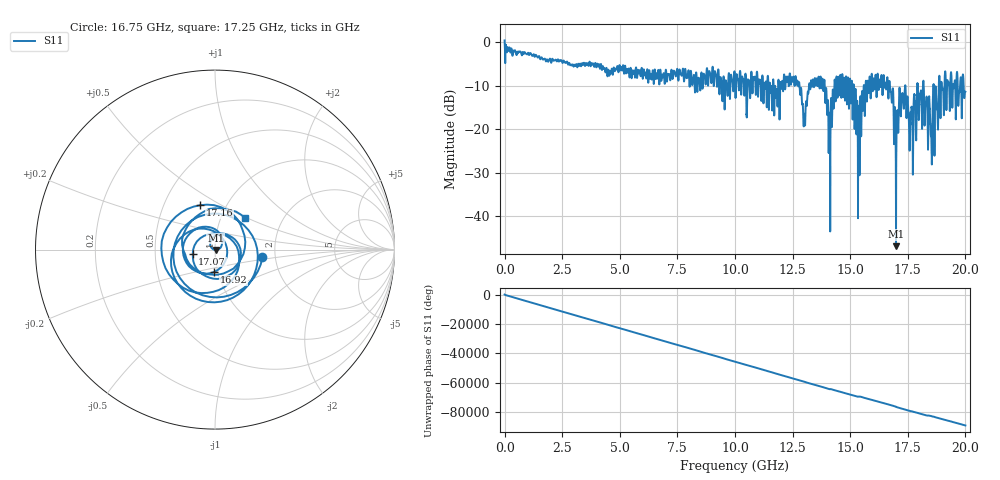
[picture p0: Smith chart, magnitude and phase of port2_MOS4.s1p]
! MS46122B
! 2250307/22442219
! 7/27/2025 9:17:09 AM
! C:\USERS\SPARKY\DOCUMENTS\VNA_DATA\JULY27_2025\3K\PORT2_MOS4.S1P
! CHANNEL.1
! TR.MEASUREMENT
! RAW.DATA
# GHZ S RI R 50.0
! FREQ.GHZ  S11RE  S11IM
!; PortSelection: Port_1
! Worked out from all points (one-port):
!   10001 points, 1 MHz to 20 GHz, reference 50 ohm
!   lowest |S11| = -47.0 dB at 16.99 GHz (marker M1), VSWR 1.01, Z = 50.4 - j0.213 ohm
!   |S11| at or under -10 dB: 15.16 GHz to 15.59 GHz (428.9 MHz wide, 2.79 % of centre); 16.73 GHz to 17.39 GHz (660.8 MHz wide, 3.87 % of centre); 17.39 GHz to 17.91 GHz (515.9 MHz wide, 2.92 % of centre) (the widest 3 of 84)
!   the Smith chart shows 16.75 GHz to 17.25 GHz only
!   S11 on the Smith chart (normalised r, x): 16.75 GHz: 1.71, -0.16; 16.92 GHz: 0.96, -0.24; 17.07 GHz: 0.78, -0.04; 17.16 GHz: 0.76, +0.40; 17.25 GHz: 1.30, +0.49
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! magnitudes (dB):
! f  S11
! 1 MHz  0.4
! 2.501 GHz  -4.6
! 5.001 GHz  -5.5
! 7.501 GHz  -6.2
! 10 GHz  -8.4
! 11.86 GHz  -12.5
! 12.5 GHz  -9.1
! 12.79 GHz  -9.3
! 13.02 GHz  -17.0
! 13.3 GHz  -8.8
! 13.8 GHz  -8.4
! 14.12 GHz  -23.2
! 14.41 GHz  -7.9
! 15 GHz  -9.0
! 15.35 GHz  -24.9
! 15.85 GHz  -8.1
! 16.75 GHz  -11.4
! 16.92 GHz  -18.2
! 16.99 GHz  -47.0
! 17.07 GHz  -18.0
! 17.16 GHz  -11.7
! 17.25 GHz  -12.3
! 17.5 GHz  -13.5
! 17.64 GHz  -16.8
! 18.11 GHz  -16.6
! 18.47 GHz  -18.5
! 18.94 GHz  -11.9
! 20 GHz  -11.4
